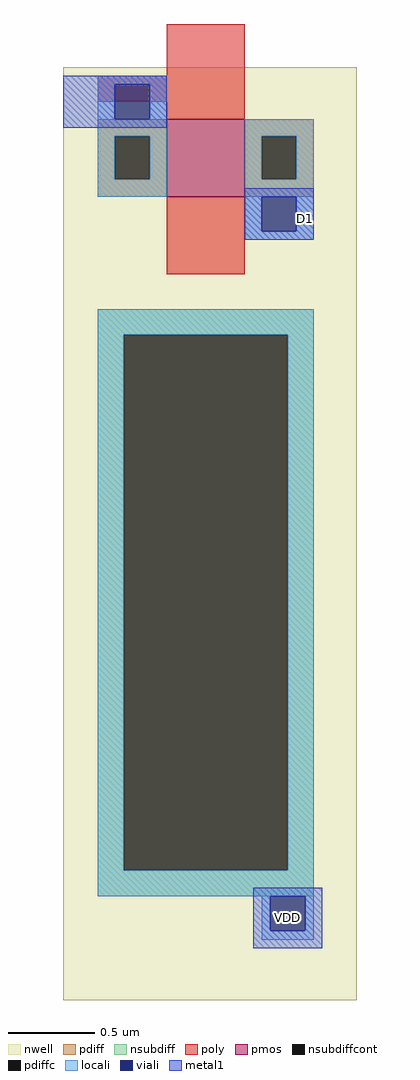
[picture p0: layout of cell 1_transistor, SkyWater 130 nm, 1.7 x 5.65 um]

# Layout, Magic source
magic
tech sky130A
<< nwell >>
rect 1015 -445 1185 95
<< pmos >>
rect 1075 20 1120 65
<< pdiff >>
rect 1035 55 1075 65
rect 1035 30 1045 55
rect 1065 30 1075 55
rect 1035 20 1075 30
rect 1120 55 1160 65
rect 1120 30 1130 55
rect 1150 30 1160 55
rect 1120 20 1160 30
<< pdiffc >>
rect 1045 30 1065 55
rect 1130 30 1150 55
<< nsubdiff >>
rect 1035 -60 1160 -45
rect 1035 -370 1050 -60
rect 1145 -370 1160 -60
rect 1035 -385 1160 -370
<< nsubdiffcont >>
rect 1050 -370 1145 -60
<< poly >>
rect 1075 90 1120 120
rect 1035 75 1120 90
rect 1075 65 1120 75
rect 1075 -25 1120 20
<< locali >>
rect 1035 85 1075 90
rect 1035 65 1045 85
rect 1065 65 1075 85
rect 1035 55 1075 65
rect 1035 30 1045 55
rect 1065 30 1075 55
rect 1035 20 1075 30
rect 1120 55 1160 65
rect 1120 30 1130 55
rect 1150 30 1160 55
rect 1120 20 1160 30
rect 1120 0 1130 20
rect 1150 0 1160 20
rect 1120 -5 1160 0
rect 1035 -60 1160 -45
rect 1035 -370 1050 -60
rect 1145 -370 1160 -60
rect 1035 -385 1160 -370
rect 1130 -405 1135 -385
rect 1155 -405 1160 -385
rect 1130 -410 1160 -405
<< viali >>
rect 1045 65 1065 85
rect 1130 0 1150 20
rect 1135 -405 1155 -385
<< metal1 >>
rect 1015 85 1075 90
rect 1015 65 1045 85
rect 1065 65 1075 85
rect 1015 60 1075 65
rect 1120 20 1160 25
rect 1120 0 1130 20
rect 1150 0 1160 20
rect 1120 -5 1160 0
rect 1125 -385 1165 -380
rect 1125 -405 1135 -385
rect 1155 -405 1165 -385
rect 1125 -415 1165 -405
<< labels >>
rlabel metal1 s 1130 -410 1160 -385 3 VDD
port 3 e
rlabel metal1 1150 -5 1160 20 3 D1
port 4 e
<< end >>
